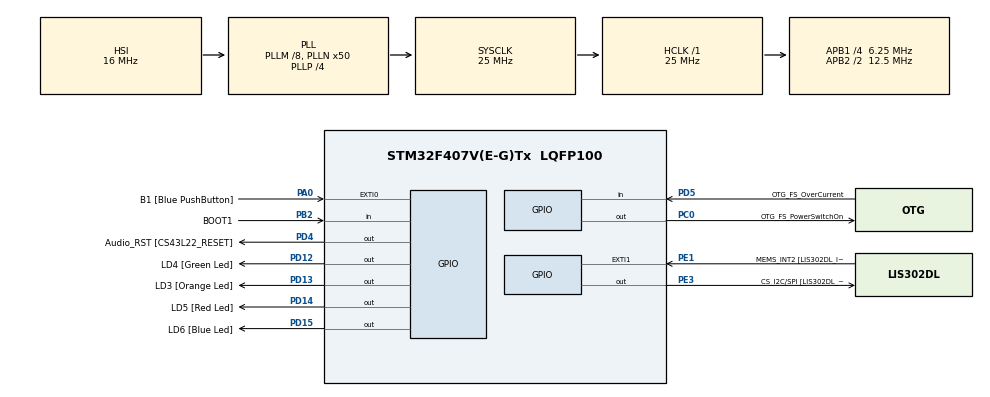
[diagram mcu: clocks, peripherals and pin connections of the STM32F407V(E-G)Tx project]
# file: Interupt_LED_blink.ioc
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Mcu.Family=STM32F4
Mcu.Name=STM32F407V(E-G)Tx
Mcu.Package=LQFP100
NVIC.EXTI0_IRQn=true\:6\:0\:true\:false\:true\:true\:true\:true
NVIC.PriorityGroup=NVIC_PRIORITYGROUP_4
NVIC.TIM6_DAC_IRQn=true\:15\:0\:false\:false\:true\:false\:true\:true
NVIC.TimeBase=TIM6_DAC_IRQn
NVIC.TimeBaseIP=TIM6
PA0-WKUP.GPIO_Label=B1 [Blue PushButton]
PA0-WKUP.GPIO_ModeDefaultEXTI=GPIO_MODE_IT_FALLING
PA0-WKUP.Signal=GPXTI0
PA10.GPIO_Label=OTG_FS_ID
PA10.GPIO_Mode=GPIO_MODE_AF_PP
PA10.GPIO_PuPd=GPIO_NOPULL
PA10.GPIO_Speed=GPIO_SPEED_FREQ_LOW
PA10.Signal=USB_OTG_FS_ID
PA11.GPIO_Label=OTG_FS_DM
PA11.GPIO_Mode=GPIO_MODE_AF_PP
PA11.GPIO_PuPd=GPIO_NOPULL
PA11.GPIO_Speed=GPIO_SPEED_FREQ_LOW
PA11.Signal=USB_OTG_FS_DM
PA12.GPIO_Label=OTG_FS_DP
PA12.GPIO_Mode=GPIO_MODE_AF_PP
PA12.GPIO_PuPd=GPIO_NOPULL
PA12.GPIO_Speed=GPIO_SPEED_FREQ_LOW
PA12.Signal=USB_OTG_FS_DP
PA13.GPIO_Label=SWDIO
PA13.Signal=SYS_JTMS-SWDIO
PA14.GPIO_Label=SWCLK
PA14.Signal=SYS_JTCK-SWCLK
PA4.GPIO_Label=I2S3_WS [CS43L22_LRCK]
PA4.GPIO_Mode=GPIO_MODE_AF_PP
PA4.GPIO_PuPd=GPIO_NOPULL
PA4.GPIO_Speed=GPIO_SPEED_FREQ_LOW
PA4.Signal=I2S3_WS
PA5.GPIO_Label=SPI1_SCK [LIS302DL_SCL/SPC]
PA5.GPIO_Mode=GPIO_MODE_AF_PP
PA5.GPIO_PuPd=GPIO_NOPULL
PA5.GPIO_Speed=GPIO_SPEED_FREQ_LOW
PA5.Signal=SPI1_SCK
PA6.GPIO_Label=SPI1_MISO [LIS302DL_SDO]
PA6.GPIO_Mode=GPIO_MODE_AF_PP
PA6.GPIO_PuPd=GPIO_NOPULL
PA6.GPIO_Speed=GPIO_SPEED_FREQ_LOW
PA6.Signal=SPI1_MISO
PA7.GPIO_Label=SPI1_MOSI [LIS302DL_SDA/SDI/SDO]
PA7.GPIO_Mode=GPIO_MODE_AF_PP
PA7.GPIO_PuPd=GPIO_NOPULL
PA7.GPIO_Speed=GPIO_SPEED_FREQ_LOW
PA7.Signal=SPI1_MOSI
PA9.GPIO_Label=VBUS_FS
PA9.GPIO_Mode=GPIO_MODE_INPUT
PA9.GPIO_PuPd=GPIO_NOPULL
PA9.Signal=USB_OTG_FS_VBUS
PB10.GPIO_Label=CLK_IN [MP45DT02_CLK]
PB10.GPIO_Mode=GPIO_MODE_AF_PP
PB10.GPIO_PuPd=GPIO_NOPULL
PB10.GPIO_Speed=GPIO_SPEED_FREQ_LOW
PB10.Signal=I2S2_CK
PB2.GPIO_Label=BOOT1
PB2.GPIO_Mode=GPIO_MODE_INPUT
PB2.GPIO_PuPd=GPIO_NOPULL
PB2.Signal=GPIO_Input
PB3.GPIO_Label=SWO
PB3.Signal=SYS_JTDO-SWO
PB6.GPIO_Label=Audio_SCL [CS43L22_SCL]
PB6.GPIO_Mode=GPIO_MODE_AF_OD
PB6.GPIO_PuPd=GPIO_NOPULL
PB6.GPIO_Speed=GPIO_SPEED_FREQ_LOW
PB6.Signal=I2C1_SCL
PB9.GPIO_Label=Audio_SDA [CS43L22_SDA]
PB9.GPIO_Mode=GPIO_MODE_AF_OD
PB9.GPIO_PuPd=GPIO_NOPULL
PB9.GPIO_Speed=GPIO_SPEED_FREQ_LOW
PB9.Signal=I2C1_SDA
PC0.GPIO_Label=OTG_FS_PowerSwitchOn
PC0.GPIO_PuPd=GPIO_NOPULL
PC0.GPIO_Speed=GPIO_SPEED_FREQ_LOW
PC0.PinState=GPIO_PIN_SET
PC0.Signal=GPIO_Output
PC10.GPIO_Label=I2S3_SCK [CS43L22_SCLK]
PC10.GPIO_Mode=GPIO_MODE_AF_PP
PC10.GPIO_PuPd=GPIO_NOPULL
PC10.GPIO_Speed=GPIO_SPEED_FREQ_LOW
PC10.Signal=I2S3_CK
PC12.GPIO_Label=I2S3_SD [CS43L22_SDIN]
PC12.GPIO_Mode=GPIO_MODE_AF_PP
PC12.GPIO_PuPd=GPIO_NOPULL
PC12.GPIO_Speed=GPIO_SPEED_FREQ_LOW
PC12.Signal=I2S3_SD
PC14-OSC32_IN.GPIO_Label=PC14-OSC32_IN
PC14-OSC32_IN.Signal=RCC_OSC32_IN
PC15-OSC32_OUT.GPIO_Label=PC15-OSC32_OUT
PC15-OSC32_OUT.Signal=RCC_OSC32_OUT
PC3.GPIO_Label=PDM_OUT [MP45DT02_DOUT]
PC3.GPIO_Mode=GPIO_MODE_AF_PP
PC3.GPIO_PuPd=GPIO_NOPULL
PC3.GPIO_Speed=GPIO_SPEED_FREQ_LOW
PC3.Signal=I2S2_SD
PC7.GPIO_Label=I2S3_MCK [CS43L22_MCLK]
PC7.GPIO_Mode=GPIO_MODE_AF_PP
PC7.GPIO_PuPd=GPIO_NOPULL
PC7.GPIO_Speed=GPIO_SPEED_FREQ_LOW
PC7.Signal=I2S3_MCK
PD12.GPIO_Label=LD4 [Green Led]
PD12.GPIO_PuPd=GPIO_NOPULL
PD12.GPIO_Speed=GPIO_SPEED_FREQ_LOW
PD12.Signal=GPIO_Output
PD13.GPIO_Label=LD3 [Orange Led]
PD13.GPIO_PuPd=GPIO_NOPULL
PD13.GPIO_Speed=GPIO_SPEED_FREQ_LOW
PD13.Signal=GPIO_Output
PD14.GPIO_Label=LD5 [Red Led]
PD14.GPIO_PuPd=GPIO_NOPULL
PD14.GPIO_Speed=GPIO_SPEED_FREQ_LOW
PD14.Signal=GPIO_Output
PD15.GPIO_Label=LD6 [Blue Led]
PD15.GPIO_PuPd=GPIO_NOPULL
PD15.GPIO_Speed=GPIO_SPEED_FREQ_LOW
PD15.Signal=GPIO_Output
PD4.GPIO_Label=Audio_RST [CS43L22_RESET]
PD4.GPIO_PuPd=GPIO_NOPULL
PD4.GPIO_Speed=GPIO_SPEED_FREQ_LOW
PD4.Signal=GPIO_Output
PD5.GPIO_Label=OTG_FS_OverCurrent
PD5.GPIO_Mode=GPIO_MODE_INPUT
PD5.GPIO_PuPd=GPIO_NOPULL
PD5.Signal=GPIO_Input
PE1.GPIO_Label=MEMS_INT2 [LIS302DL_INT2]
PE1.GPIO_ModeDefaultEXTI=GPIO_MODE_EVT_RISING
PE1.GPIO_PuPd=GPIO_NOPULL
PE1.Signal=GPXTI1
PE3.GPIO_Label=CS_I2C/SPI [LIS302DL_CS_I2C/SPI]
PE3.GPIO_PuPd=GPIO_NOPULL
PE3.GPIO_Speed=GPIO_SPEED_FREQ_LOW
PE3.Signal=GPIO_Output
PH0-OSC_IN.GPIO_Label=PH0-OSC_IN
PH0-OSC_IN.Signal=RCC_OSC_IN
PH1-OSC_OUT.GPIO_Label=PH1-OSC_OUT
PH1-OSC_OUT.Signal=RCC_OSC_OUT
ProjectManager.HeapSize=0x200
ProjectManager.StackSize=0x400
ProjectManager.TargetToolchain=STM32CubeIDE
RCC.48MHZClocksFreq_Value=14285714.285714285
RCC.AHBFreq_Value=25000000
RCC.APB1CLKDivider=RCC_HCLK_DIV4
RCC.APB1Freq_Value=6250000
RCC.APB1TimFreq_Value=12500000
RCC.APB2CLKDivider=RCC_HCLK_DIV2
RCC.APB2Freq_Value=12500000
RCC.APB2TimFreq_Value=25000000
RCC.CortexFreq_Value=25000000
RCC.HCLKFreq_Value=25000000
RCC.HSE_VALUE=8000000
RCC.HSI_VALUE=16000000
RCC.LSE_VALUE=32768
RCC.PLLM=8
RCC.PLLN=50
RCC.PLLP=RCC_PLLP_DIV4
RCC.PLLQ=7
RCC.SYSCLKFreq_VALUE=25000000
RCC.SYSCLKSource=RCC_SYSCLKSOURCE_PLLCLK
RCC.VCOOutputFreq_Value=100000000
VP_SYS_VS_tim6.Mode=TIM6
board=STM32F407G-DISC1

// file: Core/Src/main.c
/* USER CODE BEGIN Header */
/**
  ******************************************************************************
  * @file           : main.c
  * @brief          : Main program body
  ******************************************************************************
  * @attention
  *
  * Copyright (c) 2022 STMicroelectronics.
  * All rights reserved.
  *
  * This software is licensed under terms that can be found in the LICENSE file
  * in the root directory of this software component.
  * If no LICENSE file comes with this software, it is provided AS-IS.
  *
  ******************************************************************************
  */
/* USER CODE END Header */
#include "main.h"

/* USER CODE BEGIN Includes */
#include "FreeRTOS.h"
#include "Task.h"
#include <stdio.h>
/* USER CODE END Includes */

/* USER CODE BEGIN PV */
#define DWT_CTRL	(*(volatile uint32_t*)0xE0001000)
/* USER CODE END PV */

void SystemClock_Config(void);
static void MX_GPIO_Init(void);
/* USER CODE BEGIN PFP */
static void led_green_handler(void* parameters);
static void led_red_handler(void* parameters );
static void led_orange_handler(void* parameters );
static void button_handler(void* parameters );

TaskHandle_t task1_handle;
TaskHandle_t task2_handle;
TaskHandle_t task3_handle;
TaskHandle_t btn_handle;

TaskHandle_t volatile next_task_handle = NULL;
/* USER CODE END PFP */

int main(void)
{
  /* USER CODE BEGIN 1 */

	BaseType_t status;
  /* USER CODE END 1 */

  /* MCU Configuration--------------------------------------------------------*/

  /* Reset of all peripherals, Initializes the Flash interface and the Systick. */
  HAL_Init();

  /* Configure the system clock */
  SystemClock_Config();

  /* Initialize all configured peripherals */
  MX_GPIO_Init();
  /* USER CODE BEGIN 2 */

  DWT_CTRL |= (1<<0);

  status = xTaskCreate(led_green_handler, "green let task", 200, NULL, 3, &task1_handle);

  configASSERT(status == pdPASS);
  next_task_handle = task1_handle;

  status = xTaskCreate(led_red_handler, "red let task", 200, NULL, 2, &task2_handle);

  configASSERT(status == pdPASS);

  status = xTaskCreate(led_orange_handler, "orange let task", 200, NULL, 1, &task3_handle);

  configASSERT(status == pdPASS);

  status = xTaskCreate(button_handler, "button handler", 200, NULL, 4, &btn_handle);

  configASSERT(status == pdPASS);

  vTaskStartScheduler();
  /* USER CODE END 2 */

  /* Infinite loop */
  while (1)
  {

  }
}

void SystemClock_Config(void)
{
  RCC_OscInitTypeDef RCC_OscInitStruct = {0};
  RCC_ClkInitTypeDef RCC_ClkInitStruct = {0};

  /** Configure the main internal regulator output voltage
  */
  __HAL_RCC_PWR_CLK_ENABLE();
  __HAL_PWR_VOLTAGESCALING_CONFIG(PWR_REGULATOR_VOLTAGE_SCALE1);

  /** Initializes the RCC Oscillators according to the specified parameters
  * in the RCC_OscInitTypeDef structure.
  */
  RCC_OscInitStruct.OscillatorType = RCC_OSCILLATORTYPE_HSI;
  RCC_OscInitStruct.HSIState = RCC_HSI_ON;
  RCC_OscInitStruct.HSICalibrationValue = RCC_HSICALIBRATION_DEFAULT;
  RCC_OscInitStruct.PLL.PLLState = RCC_PLL_ON;
  RCC_OscInitStruct.PLL.PLLSource = RCC_PLLSOURCE_HSI;
  RCC_OscInitStruct.PLL.PLLM = 8;
  RCC_OscInitStruct.PLL.PLLN = 50;
  RCC_OscInitStruct.PLL.PLLP = RCC_PLLP_DIV4;
  RCC_OscInitStruct.PLL.PLLQ = 7;
  if (HAL_RCC_OscConfig(&RCC_OscInitStruct) != HAL_OK)
  {
    Error_Handler();
  }

  /** Initializes the CPU, AHB and APB buses clocks
  */
  RCC_ClkInitStruct.ClockType = RCC_CLOCKTYPE_HCLK|RCC_CLOCKTYPE_SYSCLK
                              |RCC_CLOCKTYPE_PCLK1|RCC_CLOCKTYPE_PCLK2;
  RCC_ClkInitStruct.SYSCLKSource = RCC_SYSCLKSOURCE_PLLCLK;
  RCC_ClkInitStruct.AHBCLKDivider = RCC_SYSCLK_DIV1;
  RCC_ClkInitStruct.APB1CLKDivider = RCC_HCLK_DIV4;
  RCC_ClkInitStruct.APB2CLKDivider = RCC_HCLK_DIV2;

  if (HAL_RCC_ClockConfig(&RCC_ClkInitStruct, FLASH_LATENCY_0) != HAL_OK)
  {
    Error_Handler();
  }
}

static void MX_GPIO_Init(void)
{
  GPIO_InitTypeDef GPIO_InitStruct = {0};

  /* GPIO Ports Clock Enable */
  __HAL_RCC_GPIOE_CLK_ENABLE();
  __HAL_RCC_GPIOC_CLK_ENABLE();
  __HAL_RCC_GPIOH_CLK_ENABLE();
  __HAL_RCC_GPIOA_CLK_ENABLE();
  __HAL_RCC_GPIOB_CLK_ENABLE();
  __HAL_RCC_GPIOD_CLK_ENABLE();

  /*Configure GPIO pin Output Level */
  HAL_GPIO_WritePin(CS_I2C_SPI_GPIO_Port, CS_I2C_SPI_Pin, GPIO_PIN_RESET);

  /*Configure GPIO pin Output Level */
  HAL_GPIO_WritePin(OTG_FS_PowerSwitchOn_GPIO_Port, OTG_FS_PowerSwitchOn_Pin, GPIO_PIN_SET);

  /*Configure GPIO pin Output Level */
  HAL_GPIO_WritePin(GPIOD, LD4_Pin|LD3_Pin|LD5_Pin|LD6_Pin
                          |Audio_RST_Pin, GPIO_PIN_RESET);

  /*Configure GPIO pin : CS_I2C_SPI_Pin */
  GPIO_InitStruct.Pin = CS_I2C_SPI_Pin;
  GPIO_InitStruct.Mode = GPIO_MODE_OUTPUT_PP;
  GPIO_InitStruct.Pull = GPIO_NOPULL;
  GPIO_InitStruct.Speed = GPIO_SPEED_FREQ_LOW;
  HAL_GPIO_Init(CS_I2C_SPI_GPIO_Port, &GPIO_InitStruct);

  /*Configure GPIO pin : OTG_FS_PowerSwitchOn_Pin */
  GPIO_InitStruct.Pin = OTG_FS_PowerSwitchOn_Pin;
  GPIO_InitStruct.Mode = GPIO_MODE_OUTPUT_PP;
  GPIO_InitStruct.Pull = GPIO_NOPULL;
  GPIO_InitStruct.Speed = GPIO_SPEED_FREQ_LOW;
  HAL_GPIO_Init(OTG_FS_PowerSwitchOn_GPIO_Port, &GPIO_InitStruct);

  /*Configure GPIO pin : PDM_OUT_Pin */
  GPIO_InitStruct.Pin = PDM_OUT_Pin;
  GPIO_InitStruct.Mode = GPIO_MODE_AF_PP;
  GPIO_InitStruct.Pull = GPIO_NOPULL;
  GPIO_InitStruct.Speed = GPIO_SPEED_FREQ_LOW;
  GPIO_InitStruct.Alternate = GPIO_AF5_SPI2;
  HAL_GPIO_Init(PDM_OUT_GPIO_Port, &GPIO_InitStruct);

  /*Configure GPIO pin : B1_Pin */
  GPIO_InitStruct.Pin = B1_Pin;
  GPIO_InitStruct.Mode = GPIO_MODE_IT_FALLING;
  GPIO_InitStruct.Pull = GPIO_NOPULL;
  HAL_GPIO_Init(B1_GPIO_Port, &GPIO_InitStruct);

  /*Configure GPIO pin : I2S3_WS_Pin */
  GPIO_InitStruct.Pin = I2S3_WS_Pin;
  GPIO_InitStruct.Mode = GPIO_MODE_AF_PP;
  GPIO_InitStruct.Pull = GPIO_NOPULL;
  GPIO_InitStruct.Speed = GPIO_SPEED_FREQ_LOW;
  GPIO_InitStruct.Alternate = GPIO_AF6_SPI3;
  HAL_GPIO_Init(I2S3_WS_GPIO_Port, &GPIO_InitStruct);

  /*Configure GPIO pins : SPI1_SCK_Pin SPI1_MISO_Pin SPI1_MOSI_Pin */
  GPIO_InitStruct.Pin = SPI1_SCK_Pin|SPI1_MISO_Pin|SPI1_MOSI_Pin;
  GPIO_InitStruct.Mode = GPIO_MODE_AF_PP;
  GPIO_InitStruct.Pull = GPIO_NOPULL;
  GPIO_InitStruct.Speed = GPIO_SPEED_FREQ_LOW;
  GPIO_InitStruct.Alternate = GPIO_AF5_SPI1;
  HAL_GPIO_Init(GPIOA, &GPIO_InitStruct);

  /*Configure GPIO pin : BOOT1_Pin */
  GPIO_InitStruct.Pin = BOOT1_Pin;
  GPIO_InitStruct.Mode = GPIO_MODE_INPUT;
  GPIO_InitStruct.Pull = GPIO_NOPULL;
  HAL_GPIO_Init(BOOT1_GPIO_Port, &GPIO_InitStruct);

  /*Configure GPIO pin : CLK_IN_Pin */
  GPIO_InitStruct.Pin = CLK_IN_Pin;
  GPIO_InitStruct.Mode = GPIO_MODE_AF_PP;
  GPIO_InitStruct.Pull = GPIO_NOPULL;
  GPIO_InitStruct.Speed = GPIO_SPEED_FREQ_LOW;
  GPIO_InitStruct.Alternate = GPIO_AF5_SPI2;
  HAL_GPIO_Init(CLK_IN_GPIO_Port, &GPIO_InitStruct);

  /*Configure GPIO pins : LD4_Pin LD3_Pin LD5_Pin LD6_Pin
                           Audio_RST_Pin */
  GPIO_InitStruct.Pin = LD4_Pin|LD3_Pin|LD5_Pin|LD6_Pin
                          |Audio_RST_Pin;
  GPIO_InitStruct.Mode = GPIO_MODE_OUTPUT_PP;
  GPIO_InitStruct.Pull = GPIO_NOPULL;
  GPIO_InitStruct.Speed = GPIO_SPEED_FREQ_LOW;
  HAL_GPIO_Init(GPIOD, &GPIO_InitStruct);

  /*Configure GPIO pins : I2S3_MCK_Pin I2S3_SCK_Pin I2S3_SD_Pin */
  GPIO_InitStruct.Pin = I2S3_MCK_Pin|I2S3_SCK_Pin|I2S3_SD_Pin;
  GPIO_InitStruct.Mode = GPIO_MODE_AF_PP;
  GPIO_InitStruct.Pull = GPIO_NOPULL;
  GPIO_InitStruct.Speed = GPIO_SPEED_FREQ_LOW;
  GPIO_InitStruct.Alternate = GPIO_AF6_SPI3;
  HAL_GPIO_Init(GPIOC, &GPIO_InitStruct);

  /*Configure GPIO pin : VBUS_FS_Pin */
  GPIO_InitStruct.Pin = VBUS_FS_Pin;
  GPIO_InitStruct.Mode = GPIO_MODE_INPUT;
  GPIO_InitStruct.Pull = GPIO_NOPULL;
  HAL_GPIO_Init(VBUS_FS_GPIO_Port, &GPIO_InitStruct);

  /*Configure GPIO pins : OTG_FS_ID_Pin OTG_FS_DM_Pin OTG_FS_DP_Pin */
  GPIO_InitStruct.Pin = OTG_FS_ID_Pin|OTG_FS_DM_Pin|OTG_FS_DP_Pin;
  GPIO_InitStruct.Mode = GPIO_MODE_AF_PP;
  GPIO_InitStruct.Pull = GPIO_NOPULL;
  GPIO_InitStruct.Speed = GPIO_SPEED_FREQ_LOW;
  GPIO_InitStruct.Alternate = GPIO_AF10_OTG_FS;
  HAL_GPIO_Init(GPIOA, &GPIO_InitStruct);

  /*Configure GPIO pin : OTG_FS_OverCurrent_Pin */
  GPIO_InitStruct.Pin = OTG_FS_OverCurrent_Pin;
  GPIO_InitStruct.Mode = GPIO_MODE_INPUT;
  GPIO_InitStruct.Pull = GPIO_NOPULL;
  HAL_GPIO_Init(OTG_FS_OverCurrent_GPIO_Port, &GPIO_InitStruct);

  /*Configure GPIO pins : Audio_SCL_Pin Audio_SDA_Pin */
  GPIO_InitStruct.Pin = Audio_SCL_Pin|Audio_SDA_Pin;
  GPIO_InitStruct.Mode = GPIO_MODE_AF_OD;
  GPIO_InitStruct.Pull = GPIO_NOPULL;
  GPIO_InitStruct.Speed = GPIO_SPEED_FREQ_LOW;
  GPIO_InitStruct.Alternate = GPIO_AF4_I2C1;
  HAL_GPIO_Init(GPIOB, &GPIO_InitStruct);

  /*Configure GPIO pin : MEMS_INT2_Pin */
  GPIO_InitStruct.Pin = MEMS_INT2_Pin;
  GPIO_InitStruct.Mode = GPIO_MODE_EVT_RISING;
  GPIO_InitStruct.Pull = GPIO_NOPULL;
  HAL_GPIO_Init(MEMS_INT2_GPIO_Port, &GPIO_InitStruct);

  /* EXTI interrupt init*/
  HAL_NVIC_SetPriority(EXTI0_IRQn, 6, 0);
  HAL_NVIC_EnableIRQ(EXTI0_IRQn);

}

/* USER CODE BEGIN 4 */

void button_interrupt_Handler(void)
{
	BaseType_t pxHigherPriorityTaskWoken ;
	pxHigherPriorityTaskWoken = pdFALSE;

	xTaskNotifyFromISR(next_task_handle, 0, eNoAction, &pxHigherPriorityTaskWoken);
	portYIELD_FROM_ISR(pxHigherPriorityTaskWoken);

}

static void led_green_handler( void * parameters)
{
	BaseType_t status;
	while (1)
	{
		//
		HAL_GPIO_TogglePin(GPIOD, LED_GREEN_PIN);
		status = xTaskNotifyWait(0, 0, NULL, pdMS_TO_TICKS(1000));
		if(status == pdTRUE)
		{	portENTER_CRITICAL();
			//vTaskSuspendAll();
		next_task_handle = task2_handle;
			//xTaskResumeAll();
			HAL_GPIO_WritePin(GPIOD, LED_GREEN_PIN,GPIO_PIN_SET);
			portEXIT_CRITICAL();
			vTaskDelete(NULL);
		}
		//HAL_Delay(1000);
		//vTaskDelay(pdMS_TO_TICKS(1000));
	}

}
static void led_red_handler( void * parameters)
{
	BaseType_t status;
	while (1)
	{
		//HAL_Delay(800);
		HAL_GPIO_TogglePin(GPIOD, LED_RED_PIN);
		status = xTaskNotifyWait(0, 0, NULL, pdMS_TO_TICKS(500));
				if(status == pdTRUE)
				{	portENTER_CRITICAL();
					//vTaskSuspendAll();
					next_task_handle = task3_handle;
					//xTaskResumeAll();
					HAL_GPIO_WritePin(GPIOD, LED_RED_PIN,GPIO_PIN_SET);
					portEXIT_CRITICAL();
					vTaskDelete(NULL);

				}
		//HAL_Delay(800);
		//vTaskDelay(pdMS_TO_TICKS(800));
	}

}
static void led_orange_handler( void * parameters)
{
	while (1)
	{
		BaseType_t status;
		//HAL_Delay(500);
		HAL_GPIO_TogglePin(GPIOD, LED_ORANGE_PIN);
		status = xTaskNotifyWait(0, 0, NULL, pdMS_TO_TICKS(200));
				if(status == pdTRUE)
				{	portENTER_CRITICAL();
					//vTaskSuspendAll();
					next_task_handle = NULL;
					//xTaskResumeAll();
					HAL_GPIO_WritePin(GPIOD, LED_ORANGE_PIN,GPIO_PIN_SET);
					portEXIT_CRITICAL();
					vTaskDelete(btn_handle);
					vTaskDelete(NULL);

				}
		//HAL_Delay(500);
		//vTaskDelay(pdMS_TO_TICKS(300));
	}

}

static void button_handler( void * parameters)
{
	uint8_t btn_read =0;
	uint8_t prev_read =0;

	while(1)
	{
		btn_read = HAL_GPIO_ReadPin(GPIOA, GPIO_PIN_0);
		if(btn_read)
		{
			if(! prev_read)
				xTaskNotify(next_task_handle, 0, eNoAction);

		}
		prev_read = btn_read;
		vTaskDelay(pdMS_TO_TICKS(10));

	}

}

/* USER CODE END 4 */

void HAL_TIM_PeriodElapsedCallback(TIM_HandleTypeDef *htim)
{
  if (htim->Instance == TIM6) {
    HAL_IncTick();
  }
}

void Error_Handler(void)
{
  __disable_irq();
  while (1)
  {
  }
}
